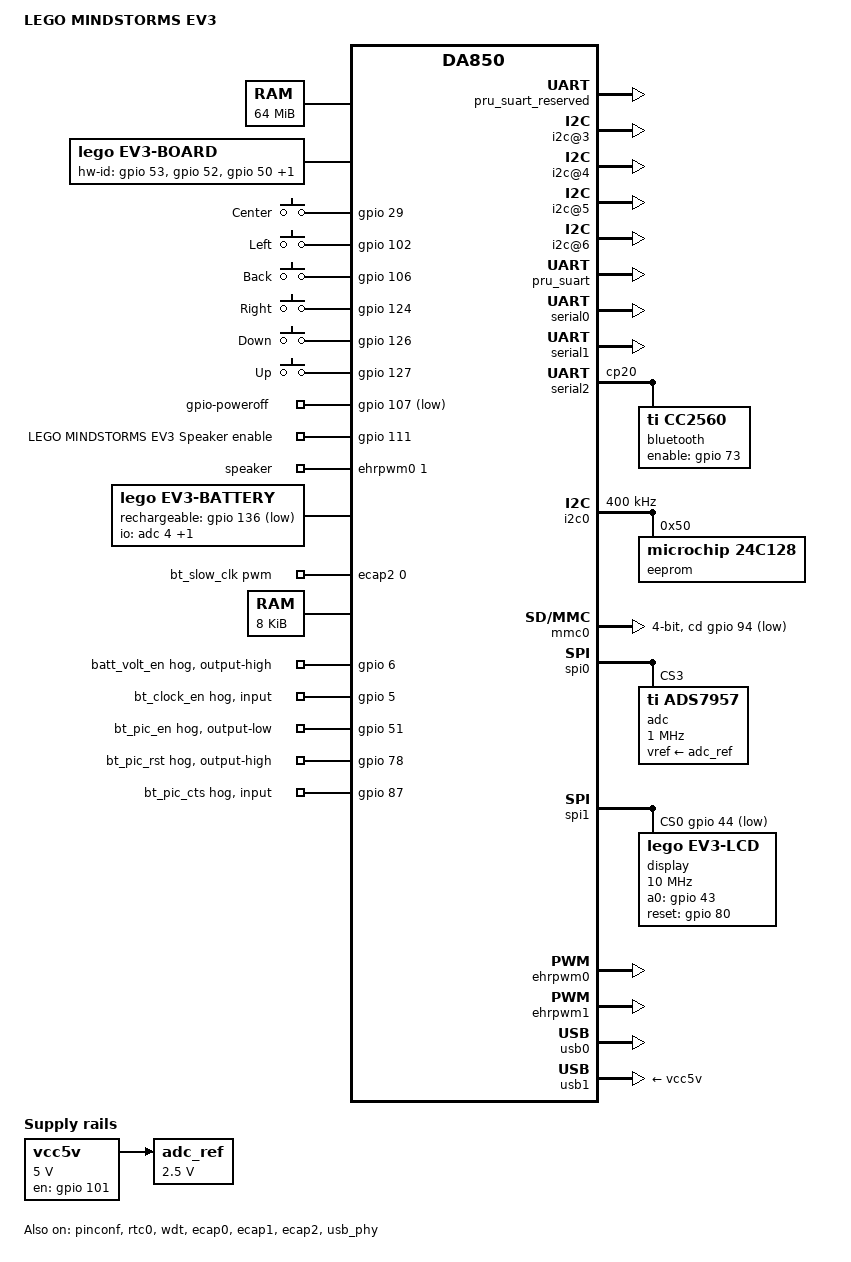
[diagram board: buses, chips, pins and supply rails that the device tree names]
/*
 * Device tree for LEGO MINDSTORMS EV3
 *
 * Copyright (C) 2017 David Lechner <david@lechnology.com>
 *
 * This program is free software; you can redistribute  it and/or modify it
 * under  the terms of  the GNU General  Public License as published by the
 * Free Software Foundation, version 2.
 */

/dts-v1/;
#include <dt-bindings/gpio/gpio.h>
#include <dt-bindings/input/linux-event-codes.h>
#include <dt-bindings/pwm/pwm.h>

#include "da850.dtsi"

/ {
	compatible = "lego,ev3", "ti,da850";
	model = "LEGO MINDSTORMS EV3";

	aliases {
		serial0 = &serial0;
		serial1 = &serial1;
		serial2 = &serial2;
	};

	memory@c0000000 {
		device_type = "memory";
		reg = <0xc0000000 0x04000000>;
	};

	reserved-memory {
		#address-cells = <1>;
		#size-cells = <1>;
		ranges;

		pru_suart_reserved: serial@80000000 {
			compatible = "shared-dma-pool";
			reg = <0x80000000 0x2000>;
			no-map;
		};

	};

	soc@1c00000 {
		pru_rproc: remote-processor@30000 {
			compatible = "ev3dev,da850-pruss";
			ranges = <0x0 0x30000 0x10000>;
			#address-cells = <1>;
			#size-cells = <1>;

			power-domains = <&psc0 13>;

			pru_intc: intc {
				compatible = "ev3dev,da850-pru-intc";
				reg = <0x4000 0x3000>;
				interrupts = <3>, <4>, <5>, <6>, <7>, <8>, <9>,
					     <10>;
				interrupt-controller;
				#interrupt-cells = <3>;
			};

			pru0: pru0 {
				status = "disabled";
				compatible = "ev3dev,da850-pru-rproc";
				reg = <0x0 0x200>, <0x7000 0x400>,
				      <0x8000 0x1000>;
				reg-names = "dram", "ctrl", "iram";
				interrupt-parent = <&pru_intc>;
				interrupts = <63 0xffffffff 0>,
					     <62 0xffffffff 2>;
				interrupt-names = "vq-to-pru", "vq-from-pru";
			};

			pru1: pru1 {
				compatible = "ev3dev,da850-pru-rproc";
				reg = <0x2000 0x200>, <0x7800 0x400>,
				      <0xc000 0x1000>;
				reg-names = "dram", "ctrl", "iram";
				interrupt-parent = <&pru_intc>;
				interrupts = <61 0xffffffff 1>,
					     <60 0xffffffff 4>;
				interrupt-names = "vq-to-pru", "vq-from-pru";
				firmware = "ev3-pru1.fw";

				vdevs {
					#address-cells = <1>;
					#size-cells = <0>;

					rpmsg@0 {
						compatible = "virtio,rpmsg";
						reg = <0>;
						#address-cells = <1>;
						#size-cells = <0>;

						tacho: ev3-tacho-rpmsg@0 {
							compatible = "ev3dev,ev3-pru-tacho";
							reg = <0>;
							#io-channel-cells = <1>;

							/* hacking in LED pwm with tacho for now */
							pwm-gpios = <&gpio 103 GPIO_ACTIVE_HIGH>,
								    <&gpio 108 GPIO_ACTIVE_HIGH>,
								    <&gpio 109 GPIO_ACTIVE_HIGH>,
								    <&gpio 110 GPIO_ACTIVE_HIGH>;
						};

						i2c@3 {
							compatible = "ev3dev,ev3-pru-i2c";
							reg = <3>;
						};

						i2c@4 {
							compatible = "ev3dev,ev3-pru-i2c";
							reg = <4>;
						};

						i2c@5 {
							compatible = "ev3dev,ev3-pru-i2c";
							reg = <5>;
						};

						i2c@6 {
							compatible = "ev3dev,ev3-pru-i2c";
							reg = <6>;
						};
					};
				};
			};
		};

		pru_suart: serial@30000 {
			compatible = "ev3dev,omapl-pru-suart";
			reg = <0x30000 0x200>, <0x37000 0x400>, <0x38000 0x1000>,
			      //<0x32000 0x200>, <0x37800 0x400>, <0x3c000 0x1000>,
			      <0x100000 0x3000>;
			reg-names = "pru0-dram", "pru0-ctrl", "pru0-iram",
				    //"pru1-dram", "pru1-ctrl", "pru1-iram",
				    "mcasp";

			clocks = <&psc0 13>, <&psc1 7>;
			clock-names = "pruss", "mcasp";

			interrupt-parent = <&pru_intc>;
			interrupts = <31 0xffffffff 0>,
				     <32 0xffffffff 0>,
				     //<33 0xffffffff 1>,
				     <34 0xffffffff 2>,
				     <35 0xffffffff 2>,
				     <36 0xffffffff 3>,
				     <37 0xffffffff 3>;
				     //<38 0xffffffff 4>,
				     //<39 0xffffffff 4>,
				     //<40 0xffffffff 5>,
				     //<41 0xffffffff 5>,
				     //<42 0xffffffff 6>,
				     //<33 0xffffffff 6>,
				     //<34 0xffffffff 7>,
				     //<45 0xffffffff 7>,
				     //<46 0xffffffff 8>,
				     //<47 0xffffffff 8>,
				     //<48 0xffffffff 9>,
				     //<49 0xffffffff 9>,
				     //<50 0xffffffff 1>;
			interrupt-names = "mcasp",
					  "arm-to-pru0",
					  //"arm-to-pru1",
					  "suart0-tx",
					  "suart0-rx",
					  "suart1-tx",
					  "suart1-rx";
					  //"suart2-tx",
					  //"suart2-rx",
					  //"suart3-tx",
					  //"suart3-rx",
					  //"suart4-tx",
					  //"suart4-rx",
					  //"suart5-tx",
					  //"suart5-rx",
					  //"suart6-tx",
					  //"suart6-rx",
					  //"suart7-tx",
					  //"suart7-rx",
					  //"pru-to-pru";
			memory-region = <&pru_suart_reserved>;
		};
	};

	board {
		pinctrl-0 = <&hw_id_pinconf>;
		pinctrl-names = "default";
		compatible = "lego,ev3-board";
		hw-id-gpios = <&gpio 53 GPIO_ACTIVE_HIGH>, /* HWID0 */
			      <&gpio 52 GPIO_ACTIVE_HIGH>, /* HWID1 */
			      <&gpio 50 GPIO_ACTIVE_HIGH>, /* HWID2 */
			      <&gpio 74 GPIO_ACTIVE_HIGH>; /* HWID3 */

		nvmem-cells = <&hw_id>;
		nvmem-cell-names = "hw-id";
	};

	/*
	 * The buttons on the EV3 are mapped to keyboard keys.
	 */
	gpio_keys {
		compatible = "gpio-keys";
		label = "EV3 Brick Buttons";
		pinctrl-names = "default";
		pinctrl-0 = <&button_bias>;

		center {
			label = "Center";
			linux,code = <KEY_ENTER>;
			gpios = <&gpio 29 GPIO_ACTIVE_HIGH>;
		};

		left {
			label = "Left";
			linux,code = <KEY_LEFT>;
			gpios = <&gpio 102 GPIO_ACTIVE_HIGH>;
		};

		back {
			label = "Back";
			linux,code = <KEY_BACKSPACE>;
			gpios = <&gpio 106 GPIO_ACTIVE_HIGH>;
		};

		right {
			label = "Right";
			linux,code = <KEY_RIGHT>;
			gpios = <&gpio 124 GPIO_ACTIVE_HIGH>;
		};

		down {
			label = "Down";
			linux,code = <KEY_DOWN>;
			gpios = <&gpio 126 GPIO_ACTIVE_HIGH>;
		};

		up {
			label = "Up";
			linux,code = <KEY_UP>;
			gpios = <&gpio 127 GPIO_ACTIVE_HIGH>;
		};
	};

	/*
	 * The EV3 has two built-in bi-color LEDs behind the buttons.
	 */
	leds {
		status = "disabled";
		compatible = "gpio-leds";

		left_green {
			label = "led0:green:brick-status";
			/* GP6[13] */
			gpios = <&gpio 103 GPIO_ACTIVE_HIGH>;
			linux,default-trigger = "default-on";
		};

		right_red {
			label = "led1:red:brick-status";
			/* GP6[7] */
			gpios = <&gpio 108 GPIO_ACTIVE_HIGH>;
			linux,default-trigger = "default-on";
		};

		left_red {
			label = "led0:red:brick-status";
			/* GP6[12] */
			gpios = <&gpio 109 GPIO_ACTIVE_HIGH>;
			linux,default-trigger = "default-on";
		};

		right_green {
			label = "led1:green:brick-status";
			/* GP6[14] */
			gpios = <&gpio 110 GPIO_ACTIVE_HIGH>;
			linux,default-trigger = "default-on";
		};
	};

	/*
	 * The EV3 is powered down by turning off the main 5V supply.
	 */
	gpio-poweroff {
		compatible = "gpio-poweroff";
		gpios = <&gpio 107 GPIO_ACTIVE_LOW>;
	};

	sound {
		compatible = "ev3dev,ev3-sound";
		pinctrl-names = "default";
		pinctrl-0 = <&ehrpwm0b_pins>;
		label = "LEGO MINDSTORMS EV3 Speaker";
		enable-gpios = <&gpio 111 GPIO_ACTIVE_HIGH>;
		pwms = <&ehrpwm0 1 1000000 0>;
		pwm-names = "speaker";
	};

	/*
	 * This is a 5V current limiting regulator that is shared by USB,
	 * the sensor (input) ports, the motor (output) ports and the A/DC.
	 */
	vcc5v: regulator1 {
		compatible = "regulator-fixed";
		regulator-name = "vcc5v";
		regulator-min-microvolt = <5000000>;
		regulator-max-microvolt = <5000000>;
		gpio = <&gpio 101 0>;
		over-current-gpios = <&gpio 99 GPIO_ACTIVE_LOW>;
		enable-active-high;
		regulator-boot-on;
	};

	/*
	 * This is a simple voltage divider on VCC5V to provide a 2.5V
	 * reference signal to the ADC.
	 */
	adc_ref: regulator2 {
		compatible = "regulator-fixed";
		regulator-name = "adc ref";
		regulator-min-microvolt = <2500000>;
		regulator-max-microvolt = <2500000>;
		regulator-boot-on;
		vin-supply = <&vcc5v>;
	};

	/*
	 * This is the amplifier for the speaker.
	 */
	amp: regulator3 {
		status = "disabled";
		compatible = "regulator-fixed";
		regulator-name = "amp";
		gpio = <&gpio 111 GPIO_ACTIVE_HIGH>;
		enable-active-high;
	};

	/*
	 * The EV3 can use 6-AA batteries or a rechargeable Li-ion battery pack.
	 */
	battery {
		compatible = "lego,ev3-battery";
		io-channels = <&adc 4>, <&adc 3>;
		io-channel-names = "voltage", "current";
		rechargeable-gpios = <&gpio 136 GPIO_ACTIVE_LOW>;
	};

	ev3_ports: ev3-ports {
		compatible = "ev3dev,ev3-ports";

		in1 {
			pinctrl-names = "default", "i2c", "uart";
			pinctrl-0 = <&in1_pins>, <&in1_i2c_pins>;
			pinctrl-1 = <&in1_pins>, <&in1_i2c_pins>;
			pinctrl-2 = <&in1_pins>, <&in1_uart_pins>;

			compatible = "ev3dev,ev3-input-port";
			io-channels = <&adc 6>, <&adc 5>;
			io-channel-names = "pin1", "pin6";
			pin1-gpios = <&gpio 138 0>;
			pin2-gpios = <&gpio 34 0>;
			pin5-gpios = <&gpio 2 0>;
			pin6-gpios = <&gpio 15 0>;
			buf-ena-gpios = <&gpio 139 GPIO_ACTIVE_LOW>;
			ev3dev,tty-name = "ttyS1";
			ev3dev,i2c-adapter = <3>;
		};

		in2 {
			pinctrl-names = "default", "i2c", "uart";
			pinctrl-0 = <&in2_pins>, <&in2_i2c_pins>;
			pinctrl-1 = <&in2_pins>, <&in2_i2c_pins>;
			pinctrl-2 = <&in2_pins>, <&in2_uart_pins>;

			compatible = "ev3dev,ev3-input-port";
			io-channels = <&adc 8>, <&adc 7>;
			io-channel-names = "pin1", "pin6";
			pin1-gpios = <&gpio 140 0>;
			pin2-gpios = <&gpio 143 0>;
			pin5-gpios = <&gpio 14 0>;
			pin6-gpios = <&gpio 13 0>;
			buf-ena-gpios = <&gpio 142 GPIO_ACTIVE_LOW>;
			ev3dev,tty-name = "ttyS0";
			ev3dev,i2c-adapter = <4>;
		};

		in3 {
			pinctrl-names = "default", "i2c", "uart";
			pinctrl-0 = <&in3_pins>, <&in3_i2c_pins>;
			pinctrl-1 = <&in3_pins>, <&in3_i2c_pins>;
			pinctrl-2 = <&in3_pins>, <&in3_uart_pins>;

			compatible = "ev3dev,ev3-input-port";
			io-channels = <&adc 10>, <&adc 9>;
			io-channel-names = "pin1", "pin6";
			pin1-gpios = <&gpio 137 0>;
			pin2-gpios = <&gpio 123 0>;
			pin5-gpios = <&gpio 12 0>;
			pin6-gpios = <&gpio 30 0>;
			buf-ena-gpios = <&gpio 121 GPIO_ACTIVE_LOW>;
			ev3dev,tty-name = "ttySU1";
			ev3dev,i2c-adapter = <5>;
		};

		in4 {
			pinctrl-names = "default", "i2c", "uart";
			pinctrl-0 = <&in4_pins>, <&in4_i2c_pins>;
			pinctrl-1 = <&in4_pins>, <&in4_i2c_pins>;
			pinctrl-2 = <&in4_pins>, <&in4_uart_pins>;

			compatible = "ev3dev,ev3-input-port";
			io-channels = <&adc 12>, <&adc 11>;
			io-channel-names = "pin1", "pin6";
			pin1-gpios = <&gpio 100 0>;
			pin2-gpios = <&gpio 120 0>;
			pin5-gpios = <&gpio 1 0>;
			pin6-gpios = <&gpio 31 0>;
			buf-ena-gpios = <&gpio 122 GPIO_ACTIVE_LOW>;
			ev3dev,tty-name = "ttySU0";
			ev3dev,i2c-adapter = <6>;
		};

		outA {
			pinctrl-names = "default";
			pinctrl-0 = <&ehrpwm1b_pins>;

			compatible = "ev3dev,ev3-output-port";
			io-channels = <&adc 1>;
			io-channel-names = "pin5";
			pin1-gpios = <&gpio 63 0>;
			pin2-gpios = <&gpio 54 0>;
			pin5-det-gpios = <&gpio 84 0>;
			pin5-gpios = <&gpio 91 GPIO_ACTIVE_LOW>;
			pin6-gpios = <&gpio 4 GPIO_ACTIVE_LOW>;
			pwms = <&ehrpwm1 1 75758 PWM_POLARITY_INVERTED>;
			pwm-names = "motor";

			motor {
				io-channels = <&tacho 0>, <&tacho 1>;
				io-channel-names = "count", "rate";
			};
		};

		outB {
			pinctrl-names = "default";
			pinctrl-0 = <&ehrpwm1a_pins>;

			compatible = "ev3dev,ev3-output-port";
			io-channels = <&adc 0>;
			io-channel-names = "pin5";
			pin1-gpios = <&gpio 33 0>;
			pin2-gpios = <&gpio 3 0>;
			pin5-det-gpios = <&gpio 37 0>;
			pin5-gpios = <&gpio 88 GPIO_ACTIVE_LOW>;
			pin6-gpios = <&gpio 41 GPIO_ACTIVE_LOW>;
			pwms = <&ehrpwm1 0 75758 PWM_POLARITY_INVERTED>;
			pwm-names = "motor";

			motor {
				io-channels = <&tacho 2>, <&tacho 3>;
				io-channel-names = "count", "rate";
			};
		};

		outC {
			pinctrl-names = "default";
			pinctrl-0 = <&ecap0_pins>;

			compatible = "ev3dev,ev3-output-port";
			io-channels = <&adc 13>;
			io-channel-names = "pin5";
			pin1-gpios = <&gpio 104 0>;
			pin2-gpios = <&gpio 89 0>;
			pin5-det-gpios = <&gpio 56 0>;
			pin5-gpios = <&gpio 93 GPIO_ACTIVE_LOW>;
			pin6-gpios = <&gpio 62 GPIO_ACTIVE_LOW>;
			pwms = <&ecap0 0 75758 PWM_POLARITY_INVERTED>;
			pwm-names = "motor";

			motor {
				io-channels = <&tacho 4>, <&tacho 5>;
				io-channel-names = "count", "rate";
			};
		};

		outD {
			pinctrl-names = "default";
			pinctrl-0 = <&ecap1_pins>;

			compatible = "ev3dev,ev3-output-port";
			io-channels = <&adc 14>;
			io-channel-names = "pin5";
			pin1-gpios = <&gpio 83 0>;
			pin2-gpios = <&gpio 90 0>;
			pin5-det-gpios = <&gpio 95 0>;
			pin5-gpios = <&gpio 105 GPIO_ACTIVE_LOW>;
			pin6-gpios = <&gpio 40 GPIO_ACTIVE_LOW>;
			pwms = <&ecap1 0 75758 PWM_POLARITY_INVERTED>;
			pwm-names = "motor";

			motor {
				io-channels = <&tacho 6>, <&tacho 7>;
				io-channel-names = "count", "rate";
			};
		};
	};

	bt_slow_clk: bt-clock {
		pinctrl-names = "default";
		pinctrl-0 = <&ecap2_pins>, <&bt_clock_bias>;
		compatible = "pwm-clock";
		#clock-cells = <0>;
		clock-frequency = <32768>;
		pwms = <&ecap2 0 30518 0>;
	};

	/* ARM local RAM */
	memory@ffff0000 {
		compatible = "syscon", "simple-mfd";
		reg = <0xffff0000 0x2000>; /* 8k */

		/*
		 * The I2C bootloader looks for this magic value to either
		 * boot normally or boot into a firmware update mode.
		 */
		reboot-mode {
			compatible = "syscon-reboot-mode";
			offset = <0x1ffc>;
			mode-normal = <0x00000000>;
			mode-loader = <0x5555aaaa>;
		};
	};
};

&ref_clk {
	clock-frequency = <24000000>;
};

&pmx_core {
	pinctrl-0 = <&fixed_pins>;
	pinctrl-names = "default";
	status = "okay";

	ev3_lcd_pins: pinmux_lcd {
		pinctrl-single,bits = <
			/* SIMO, CLK */
			0x14 0x00100100 0x00f00f00
		>;
	};

	fixed_pins: pinmux-fixed {
		pinctrl-single,bits = <
			/*
			 * AHCLKX, AHCLKR
			 */
			0x00 0x00110000 0x00ff0000
			/*
			 * GP2[0], GP2[7]
			 */
			0x18 0x80000008 0xf000000f
			/*
			 * GP4[9]
			 */
			0x24 0x08000000 0x0f000000
			/*
			 * GP5[2]
			 */
			0x30 0x00800000 0x00f00000
			/*
			 * RTCK, GP6[2]
			 */
			0x4c 0x00080000 0xf00f0000
		>;
	};
	in1_pins: pinmux-in1 {
		pinctrl-single,bits = <
			/* GP0[15] */
			0x00 0x00000008 0x0000000f
			/* GP0[2] */
			0x04 0x00800000 0x00f00000
			/* UART1_RXD */
			0x10 0x02000000 0x0f000000
			/* GP2[2] */
			0x18 0x00800000 0x00f00000
			/* GP8[10], GP8[11] */
			0x48 0x88000000 0xff000000
		>;
	};

	in1_uart_pins: pinmux-in1-uart {
		pinctrl-single,bits = <
			/* UART1_TXD */
			0x10 0x20000000 0xf0000000
		>;
	};

	in1_i2c_pins: pinmux-in1-i2c {
		pinctrl-single,bits = <
			/* GP1[0] */
			0x10 0x80000000 0xf0000000
		>;
	};

	in2_pins: pinmux-in2 {
		pinctrl-single,bits = <
			/* GP0[13], GP0[14] */
			0x00 0x00000880 0x00000ff0
			/* UART0_RXD */
			0x0c 0x00020000 0x000f0000
			/* GP8[12], GP8[14], GP8[15]*/
			0x48 0x00808800 0x00f0ff00
		>;
	};

	in2_uart_pins: pinmux-in2-uart {
		pinctrl-single,bits = <
			/* UART0_TXD */
			0x0c 0x00200000 0x00f00000
		>;
	};

	in2_i2c_pins: pinmux-in2-i2c {
		pinctrl-single,bits = <
			/* GP8[3] */
			0x0c 0x00400000 0x00f00000
		>;
	};

	in3_pins: pinmux-in3 {
		pinctrl-single,bits = <
			/* GP0[12] */
			0x00 0x00008000 0x0000f000
			/* AXR2, GP1[14] */
			0x08 0x00100040 0x00f000f0
			/* GP7[11] */
			0x40 0x08000000 0x0f000000
			/* GP7[9] */
			0x44 0x00000008 0x0000000f
			/* GP8[9] */
			0x4c 0x00000008 0x0000000f
		>;
	};

	in3_uart_pins: pinmux-in3-uart {
		pinctrl-single,bits = <
			/* AXR4 */
			0x08 0x00001000 0x0000f000
		>;
	};

	in3_i2c_pins: pinmux-in3-i2c {
		pinctrl-single,bits = <
			/* GP1[12] */
			0x08 0x00004000 0x0000f000
		>;
	};

	in4_pins: pinmux-in4 {
		pinctrl-single,bits = <
			/* GP0[1] */
			0x04 0x08000000 0x0f000000
			/* AXR1, GP1[15] */
			0x08 0x01000008 0x0f00000f
			/* GP7[10] */
			0x40 0x80000000 0xf0000000
			/* GP7[8] */
			0x44 0x00000080 0x000000f0
			/* GP6[4] */
			0x4c 0x00000800 0x00000f00
		>;
	};

	in4_uart_pins: pinmux-in4-uart {
		pinctrl-single,bits = <
			/* AXR3 */
			0x08 0x00010000 0x000f0000
		>;
	};

	in4_i2c_pins: pinmux-in4-i2c {
		pinctrl-single,bits = <
			/* GP1[11] */
			0x08 0x00040000 0x000f0000
		>;
	};
};

&pinconf {
	pinctrl-0 = <&pinconf_bias_groups>;
	pinctrl-names = "default";
	status = "okay";

	pinconf_bias_groups: bias-groups {
		disable {
			groups = "cp0", "cp1", "cp3", "cp4",
				 "cp6", "cp7", "cp8", "cp9", "cp10", "cp11",
				 "cp12", "cp13", "cp14", "cp15", "cp16",
				 "cp18", "cp19", "cp21", "cp22", "cp23",
				 "cp26", "cp27", "cp29", "cp30", "cp31";
			bias-disable;
		};
	};

	/* Buttons have external pulldown resistors */
	button_bias: button-bias-groups {
		disable {
			groups = "cp5", "cp24", "cp25", "cp28";
			bias-disable;
		};
	};

	bt_clock_bias: bt-clock-bias-groups {
		disable {
			groups = "cp2";
			bias-disable;
		};
	};

	bt_pic_bias: bt-pic-bias-groups {
		disable {
			groups = "cp20";
			bias-disable;
		};
	};

	hw_id_pinconf: hw-id {
		disable {
			groups = "cp17";
			bias-disable;
		};
	};
};

/* Input port 2 */
&serial0 {
	#tty-cells = <0>;
	status = "okay";
};

/* Input port 1 */
&serial1 {
	#tty-cells = <0>;
	status = "okay";
};

&serial2 {
	pinctrl-names = "default";
	pinctrl-0 = <&serial2_rxtx_pins>, <&serial2_rtscts_pins>, <&bt_pic_bias>;
	status = "okay";

	bluetooth {
		compatible = "ti,cc2560";
		clocks = <&bt_slow_clk>;
		clock-names = "ext_clock";
		enable-gpios = <&gpio 73 GPIO_ACTIVE_HIGH>;
		max-speed = <2000000>;
		nvmem-cells = <&bdaddr>;
		nvmem-cell-names = "bd-address";
	};
};

&rtc0 {
	status = "okay";
};

&i2c0 {
	status = "okay";
	clock-frequency = <400000>;
	pinctrl-names = "default";
	pinctrl-0 = <&i2c0_pins>;

	/*
	 * EEPROM contains the first stage bootloader, HW ID and Bluetooth MAC.
	 */
	eeprom@50 {
		compatible = "microchip,24c128", "atmel,24c128";
		pagesize = <64>;
		read-only;
		reg = <0x50>;
		#address-cells = <1>;
		#size-cells = <1>;

		/* Hardware ID + Bluetooth MAC address */
		hw_id: hw-id@0x3F00 {
			reg = <0x3F00 12>;
		};

		bdaddr: bdaddr@3f06 {
			reg = <0x3f06 0x06>;
		};
	};
};

&wdt {
	status = "okay";
};

&mmc0 {
	status = "okay";
	max-frequency = <50000000>;
	bus-width = <4>;
	cd-gpios = <&gpio 94 GPIO_ACTIVE_LOW>;
	pinctrl-names = "default";
	pinctrl-0 = <&mmc0_pins>;
};

&spi0 {
	status = "okay";
	pinctrl-names = "default";
	pinctrl-0 = <&spi0_pins>, <&spi0_cs0_pin>, <&spi0_cs3_pin>;

	flash@0 {
		status = "disabled";
		compatible = "n25q128a13", "jedec,spi-nor";
		reg = <0>;
		spi-max-frequency = <50000000>;
		ti,spi-wdelay = <8>;

		/* Partitions are based on the official firmware from LEGO */
		partitions {
			compatible = "fixed-partitions";
			#address-cells = <1>;
			#size-cells = <1>;

			partition@0 {
				label = "U-Boot";
				reg = <0 0x40000>;
			};

			partition@40000 {
				label = "U-Boot Env";
				reg = <0x40000 0x10000>;
			};

			partition@50000 {
				label = "Kernel";
				reg = <0x50000 0x200000>;
			};

			partition@250000 {
				label = "Filesystem";
				reg = <0x250000 0xa50000>;
			};

			partition@cb0000 {
				label = "Storage";
				reg = <0xcb0000 0x2f0000>;
			};
		};
	};

	adc: adc@3 {
		compatible = "ti,ads7957";
		reg = <3>;
		#io-channel-cells = <1>;
		spi-max-frequency = <1000000>;
		ti,spi-wdelay = <63>;
		vref-supply = <&adc_ref>;
	};
};

&spi1 {
	status = "okay";
	pinctrl-0 = <&ev3_lcd_pins>;
	pinctrl-names = "default";
	cs-gpios = <&gpio 44 GPIO_ACTIVE_LOW>;

	display@0{
		compatible = "lego,ev3-lcd";
		reg = <0>;
		spi-max-frequency = <10000000>;
		a0-gpios = <&gpio 43 GPIO_ACTIVE_HIGH>;
		reset-gpios = <&gpio 80 GPIO_ACTIVE_HIGH>;
	};
};

&ecap0 {
	status = "okay";
};

&ecap1 {
	status = "okay";
};

&ecap2 {
	status = "okay";
};

&ehrpwm0 {
	status = "okay";
};

&ehrpwm1 {
	status = "okay";
};

&gpio {
	status = "okay";

	/* Don't pull down battery voltage adc io channel */
	batt_volt_en {
		gpio-hog;
		gpios = <6 GPIO_ACTIVE_HIGH>;
		output-high;
	};

	/* Don't impede Bluetooth clock signal */
	bt_clock_en {
		gpio-hog;
		gpios = <5 GPIO_ACTIVE_HIGH>;
		input;
	};

	/*
	 * There is a PIC microcontroller for interfacing with an Apple MFi
	 * chip. This interferes with normal Bluetooth operation, so we need
	 * to make sure it is turned off. Note: The publicly available
	 * schematics from LEGO don't show that these pins are connected to
	 * anything, but they are present in the source code from LEGO.
	 */

	bt_pic_en {
		gpio-hog;
		gpios = <51 GPIO_ACTIVE_HIGH>;
		output-low;
	};

	bt_pic_rst {
		gpio-hog;
		gpios = <78 GPIO_ACTIVE_HIGH>;
		output-high;
	};

	bt_pic_cts {
		gpio-hog;
		gpios = <87 GPIO_ACTIVE_HIGH>;
		input;
	};
};

&usb_phy {
	status = "okay";
};

&usb0 {
	status = "okay";
};

&usb1 {
	status = "okay";
	vbus-supply = <&vcc5v>;
};
